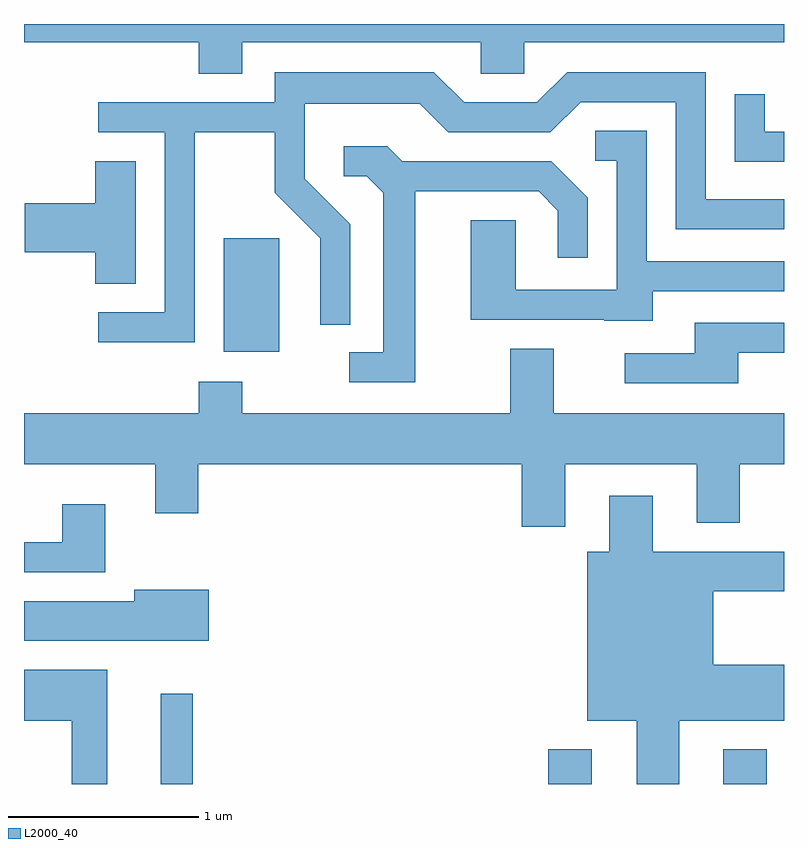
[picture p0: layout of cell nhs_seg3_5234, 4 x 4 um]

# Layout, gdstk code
import gdstk
lib = gdstk.Library(unit=1e-6, precision=1e-09)
def R(c, l, rs):  # rectangles x0, y0, x1, y1
    for r in rs: c.add(gdstk.rectangle(r[:2], r[2:], *l))
def P(c, l, *ps):  # polygons
    for p in ps: c.add(gdstk.Polygon(p, *l))
L2000_40 = (2000, 40)

nhs_seg3_5234 = lib.new_cell('nhs_seg3_5234')
R(nhs_seg3_5234, L2000_40, [(340.331,1119.892,340.499,1120.368), (342.371,1119.892,342.599,1120.074), (343.291,1119.892,343.519,1120.074), (340.661,1122.166,340.954,1122.764)])
P(nhs_seg3_5234, L2000_40, [(340.759,1123.796),(342.016,1123.796),(342.016,1123.631),(342.244,1123.631),(342.244,1123.796),(343.611,1123.796),(343.611,1123.892),(339.611,1123.892),(339.611,1123.796),(340.531,1123.796),(340.531,1123.631),(340.759,1123.631)],
  [(340.509,1123.321),(340.931,1123.321),(340.931,1123.004),(341.171,1122.764),(341.171,1122.308),(341.329,1122.308),(341.329,1122.837),(341.089,1123.077),(341.089,1123.471),(341.694,1123.471),(341.844,1123.321),(342.382,1123.321),(342.542,1123.481),(343.041,1123.481),(343.041,1122.811),(343.611,1122.811),(343.611,1122.969),(343.199,1122.969),(343.199,1123.639),(342.469,1123.639),(342.309,1123.479),(341.927,1123.479),(341.767,1123.639),(340.931,1123.639),(340.931,1123.479),(340.003,1123.479),(340.003,1123.321),(340.351,1123.321),(340.351,1122.374),(340.003,1122.374),(340.003,1122.216),(340.509,1122.216)],
  [(343.611,1123.324),(343.509,1123.324),(343.509,1123.523),(343.351,1123.523),(343.351,1123.166),(343.611,1123.166)],
  [(342.919,1122.486),(343.611,1122.486),(343.611,1122.644),(342.889,1122.644),(342.889,1123.329),(342.618,1123.329),(342.618,1123.171),(342.731,1123.171),(342.731,1122.494),(342.199,1122.494),(342.199,1122.859),(341.961,1122.859),(341.961,1122.336),(342.665,1122.336),(342.665,1122.331),(342.919,1122.331)],
  [(341.669,1123.011),(342.319,1123.011),(342.421,1122.909),(342.421,1122.663),(342.579,1122.663),(342.579,1122.977),(342.387,1123.169),(341.602,1123.169),(341.522,1123.249),(341.293,1123.249),(341.293,1123.091),(341.414,1123.091),(341.501,1123.004),(341.501,1122.164),(341.323,1122.164),(341.323,1122.006),(341.669,1122.006)],
  [(340.199,1123.169),(339.986,1123.169),(339.986,1122.949),(339.616,1122.949),(339.616,1122.691),(339.986,1122.691),(339.986,1122.526),(340.199,1122.526)],
  [(343.369,1122.161),(343.611,1122.161),(343.611,1122.319),(343.141,1122.319),(343.141,1122.159),(342.773,1122.159),(342.773,1122.001),(343.369,1122.001)],
  [(342.459,1121.576),(343.151,1121.576),(343.151,1121.266),(343.379,1121.266),(343.379,1121.576),(343.611,1121.576),(343.611,1121.844),(342.399,1121.844),(342.399,1122.184),(342.171,1122.184),(342.171,1121.844),(340.759,1121.844),(340.759,1122.009),(340.531,1122.009),(340.531,1121.844),(339.611,1121.844),(339.611,1121.576),(340.301,1121.576),(340.301,1121.316),(340.529,1121.316),(340.529,1121.576),(342.231,1121.576),(342.231,1121.246),(342.459,1121.246)],
  [(343.059,1120.226),(343.611,1120.226),(343.611,1120.519),(343.239,1120.519),(343.239,1120.906),(343.611,1120.906),(343.611,1121.114),(342.919,1121.114),(342.919,1121.409),(342.691,1121.409),(342.691,1121.114),(342.576,1121.114),(342.576,1120.226),(342.836,1120.226),(342.836,1119.892),(343.059,1119.892)],
  [(340.039,1121.364),(339.811,1121.364),(339.811,1121.164),(339.611,1121.164),(339.611,1121.006),(340.039,1121.006)],
  [(340.584,1120.914),(340.191,1120.914),(340.191,1120.854),(339.611,1120.854),(339.611,1120.646),(340.584,1120.646)],
  [(340.049,1120.494),(339.611,1120.494),(339.611,1120.226),(339.861,1120.226),(339.861,1119.892),(340.049,1119.892)])

lib.write_gds('nhs_seg3_5234.gds')
